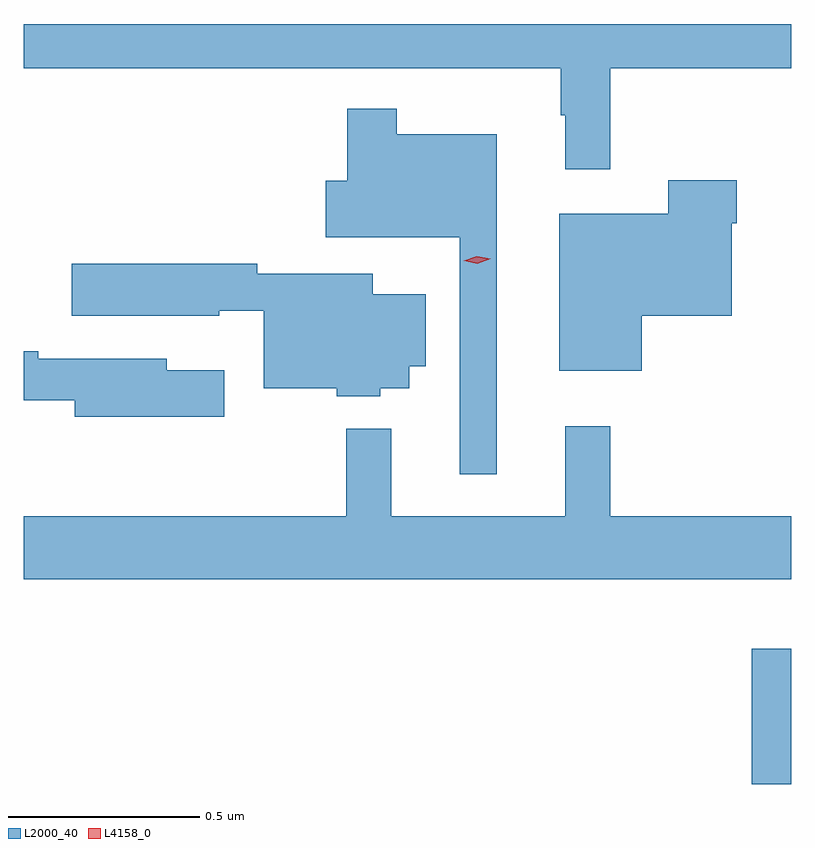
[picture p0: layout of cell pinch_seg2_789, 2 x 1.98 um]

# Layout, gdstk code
import gdstk
lib = gdstk.Library(unit=1e-6, precision=1e-09)
def R(c, l, rs):  # rectangles x0, y0, x1, y1
    for r in rs: c.add(gdstk.rectangle(r[:2], r[2:], *l))
def P(c, l, *ps):  # polygons
    for p in ps: c.add(gdstk.Polygon(p, *l))
L2000_40 = (2000, 40)
L4158_0 = (4158, 0)

pinch_seg2_789 = lib.new_cell('pinch_seg2_789')
R(pinch_seg2_789, L2000_40, [(736.982,637.778,737.085,638.131)])
P(pinch_seg2_789, L2000_40, [(736.613,639.644),(737.085,639.644),(737.085,639.759),(735.085,639.759),(735.085,639.644),(736.485,639.644),(736.485,639.521),(736.496,639.521),(736.496,639.381),(736.613,639.381)],
  [(736.318,639.472),(736.057,639.472),(736.057,639.538),(735.928,639.538),(735.928,639.351),(735.872,639.351),(735.872,639.203),(736.221,639.203),(736.221,638.586),(736.318,638.586)],
  [(736.696,638.999),(736.93,638.999),(736.93,639.239),(736.943,639.239),(736.943,639.352),(736.765,639.352),(736.765,639.265),(736.481,639.265),(736.481,638.855),(736.696,638.855)],
  [(736.014,638.81),(736.09,638.81),(736.09,638.867),(736.132,638.867),(736.132,639.055),(735.994,639.055),(735.994,639.108),(735.694,639.108),(735.694,639.134),(735.21,639.134),(735.21,638.999),(735.594,638.999),(735.594,639.011),(735.71,639.011),(735.71,638.81),(735.9,638.81),(735.9,638.789),(736.014,638.789)],
  [(735.607,638.857),(735.457,638.857),(735.457,638.886),(735.122,638.886),(735.122,638.906),(735.085,638.906),(735.085,638.778),(735.218,638.778),(735.218,638.735),(735.607,638.735)],
  [(737.085,638.476),(736.613,638.476),(736.613,638.71),(736.496,638.71),(736.496,638.476),(736.043,638.476),(736.043,638.704),(735.925,638.704),(735.925,638.476),(735.085,638.476),(735.085,638.312),(737.085,638.312)])
P(pinch_seg2_789, L4158_0, [(736.267,639.134),(736.232,639.142),(736.231,639.142),(736.232,639.142),(736.266,639.154),(736.302,639.147),(736.302,639.147),(736.302,639.147)])

lib.write_gds('pinch_seg2_789.gds')
